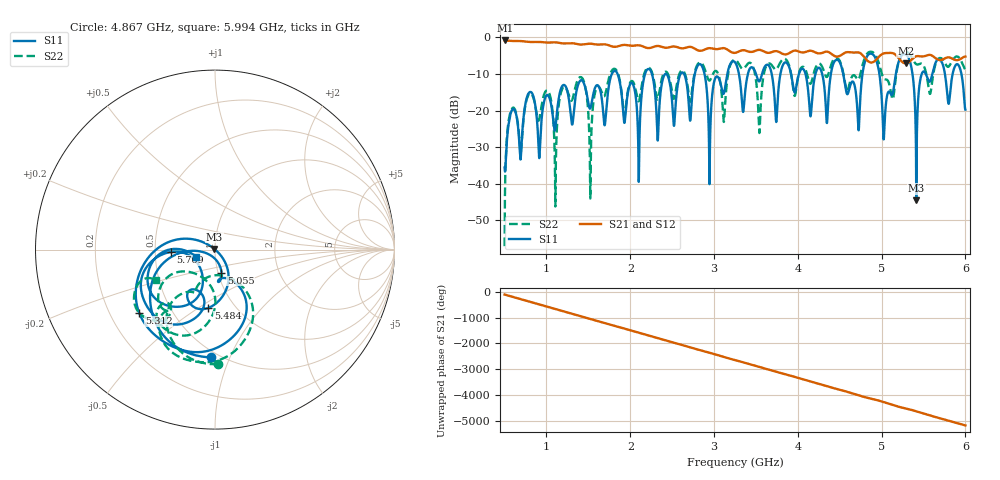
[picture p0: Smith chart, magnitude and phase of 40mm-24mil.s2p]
# Hz S DB R 50
! CMT, C2409, 19096212, 19.2.3/2
! Date: 3/29/2022 2:35:00 AM
! Data: Format (Calibration Info)
! Freq	S11:dB/Ang(F2)	S21:dB/Ang(F2)	S12:dB/Ang(F2)	S22:dB/Ang(F2)
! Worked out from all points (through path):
!   5001 points, 500 MHz to 6 GHz, reference 50 ohm
!   highest |S21| = -0.82 dB at 501 MHz (marker M1); lowest = -7.1 dB at 5.288 GHz (marker M2)
!   group delay of S21, straight-line fit = 2.56 ns
!   lowest |S11| = -44.6 dB at 5.413 GHz (marker M3), VSWR 1.01, Z = 49.6 + j0.412 ohm
!   |S11| at or under -10 dB: start of sweep to 1.78 GHz; 1.849 GHz to 2.176 GHz (327.2 MHz wide, 16.3 % of centre); 2.886 GHz to 3.159 GHz (272.3 MHz wide, 9.01 % of centre)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
!   |S22| runs from -57.1 to -3.9 dB; largest |S21 - S12| = 0.0061
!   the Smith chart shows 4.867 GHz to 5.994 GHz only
!   S11 on the Smith chart (normalised r, x): 4.867 GHz: 0.45, -0.85; 5.055 GHz: 1.04, -0.27; 5.312 GHz: 0.32, -0.33; 5.484 GHz: 0.76, -0.55; 5.769 GHz: 0.61, -0.02; 5.994 GHz: 0.81, -0.07
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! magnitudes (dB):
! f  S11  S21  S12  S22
! 500 MHz  -35.6  -0.8  -0.8  -57.1
! 501 MHz  -35.9  -0.8  -0.8  -52.1
! 584.4 MHz  -20.0  -0.9  -0.9  -19.6
! 1.02 GHz  -15.9  -1.4  -1.4  -14.7
! 1.106 GHz  -24.9  -1.3  -1.3  -46.3
! 1.176 GHz  -13.8  -1.6  -1.6  -14.8
! 1.417 GHz  -11.7  -1.9  -1.9  -10.9
! 1.523 GHz  -19.4  -1.7  -1.7  -44.1
! 1.794 GHz  -9.4  -2.5  -2.5  -8.7
! 2.334 GHz  -25.8  -2.3  -2.3  -16.6
! 3.251 GHz  -6.8  -4.2  -4.2  -6.1
! 4.168 GHz  -17.5  -3.7  -3.7  -11.8
! 4.867 GHz  -4.4  -6.8  -6.8  -3.9
! 5.055 GHz  -17.5  -4.3  -4.2  -11.5
! 5.085 GHz  -14.8  -4.2  -4.2  -12.3
! 5.288 GHz  -4.7  -7.1  -7.0  -4.0
! 5.312 GHz  -5.2  -7.0  -6.9  -4.1
! 5.413 GHz  -44.6  -5.2  -5.1  -7.3
! 5.484 GHz  -9.7  -5.2  -5.2  -7.2
! 5.769 GHz  -12.2  -5.6  -5.5  -7.5
! 5.994 GHz  -19.0  -5.2  -5.2  -8.6
! 6 GHz  -19.8  -5.2  -5.2  -8.7
